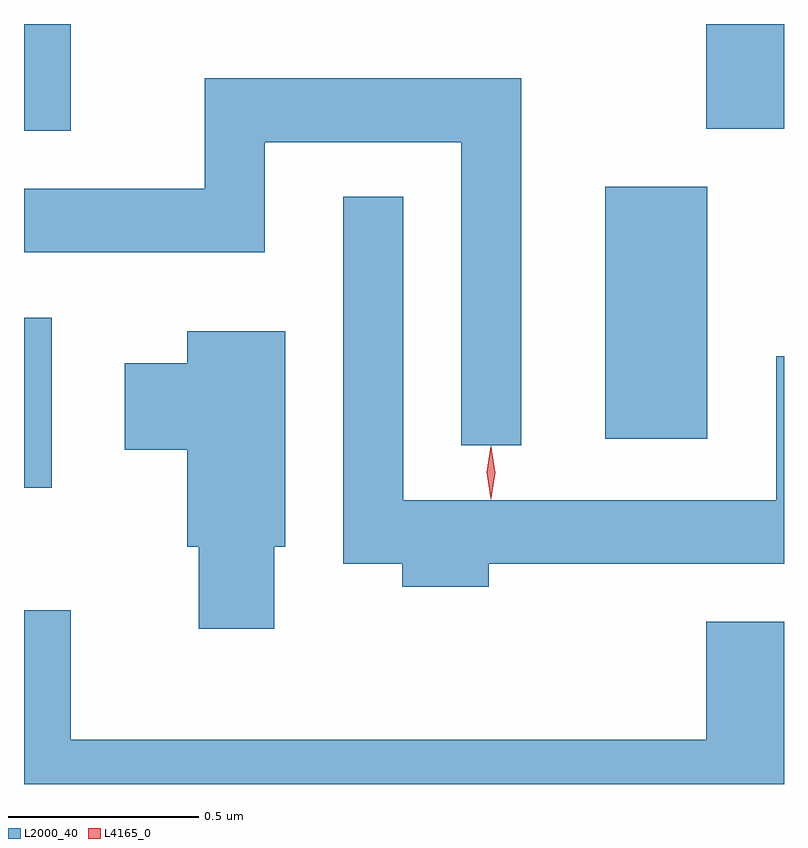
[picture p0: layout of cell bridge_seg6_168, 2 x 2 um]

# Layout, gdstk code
import gdstk
lib = gdstk.Library(unit=1e-6, precision=1e-09)
def R(c, l, rs):  # rectangles x0, y0, x1, y1
    for r in rs: c.add(gdstk.rectangle(r[:2], r[2:], *l))
def P(c, l, *ps):  # polygons
    for p in ps: c.add(gdstk.Polygon(p, *l))
L2000_40 = (2000, 40)
L4165_0 = (4165, 0)

bridge_seg6_168 = lib.new_cell('bridge_seg6_168')
R(bridge_seg6_168, L2000_40, [(1078.416,1597.586,1078.489,1598.034), (1079.946,1597.716,1080.214,1598.379), (1078.416,1598.526,1078.539,1598.807), (1080.211,1598.531,1080.416,1598.807)])
P(bridge_seg6_168, L2000_40, [(1079.724,1598.664),(1078.891,1598.664),(1078.891,1598.374),(1078.416,1598.374),(1078.416,1598.206),(1079.049,1598.206),(1079.049,1598.496),(1079.566,1598.496),(1079.566,1597.698),(1079.724,1597.698)],
  [(1079.639,1597.386),(1080.416,1597.386),(1080.416,1597.933),(1080.396,1597.933),(1080.396,1597.554),(1079.414,1597.554),(1079.414,1598.353),(1079.256,1598.353),(1079.256,1597.386),(1079.411,1597.386),(1079.411,1597.326),(1079.639,1597.326)],
  [(1079.074,1597.431),(1079.104,1597.431),(1079.104,1597.999),(1078.846,1597.999),(1078.846,1597.914),(1078.681,1597.914),(1078.681,1597.686),(1078.846,1597.686),(1078.846,1597.431),(1078.876,1597.431),(1078.876,1597.216),(1079.074,1597.216)],
  [(1080.416,1597.234),(1080.211,1597.234),(1080.211,1596.924),(1078.539,1596.924),(1078.539,1597.264),(1078.416,1597.264),(1078.416,1596.807),(1080.416,1596.807)])
P(bridge_seg6_168, L4165_0, [(1079.646,1597.559),(1079.645,1597.56),(1079.636,1597.626),(1079.645,1597.692),(1079.646,1597.693),(1079.646,1597.692),(1079.656,1597.626),(1079.646,1597.56)],
  [(1079.644,1597.557),(1079.644,1597.558),(1079.634,1597.627),(1079.644,1597.696),(1079.644,1597.696),(1079.645,1597.696),(1079.654,1597.627),(1079.645,1597.558)])

lib.write_gds('bridge_seg6_168.gds')
